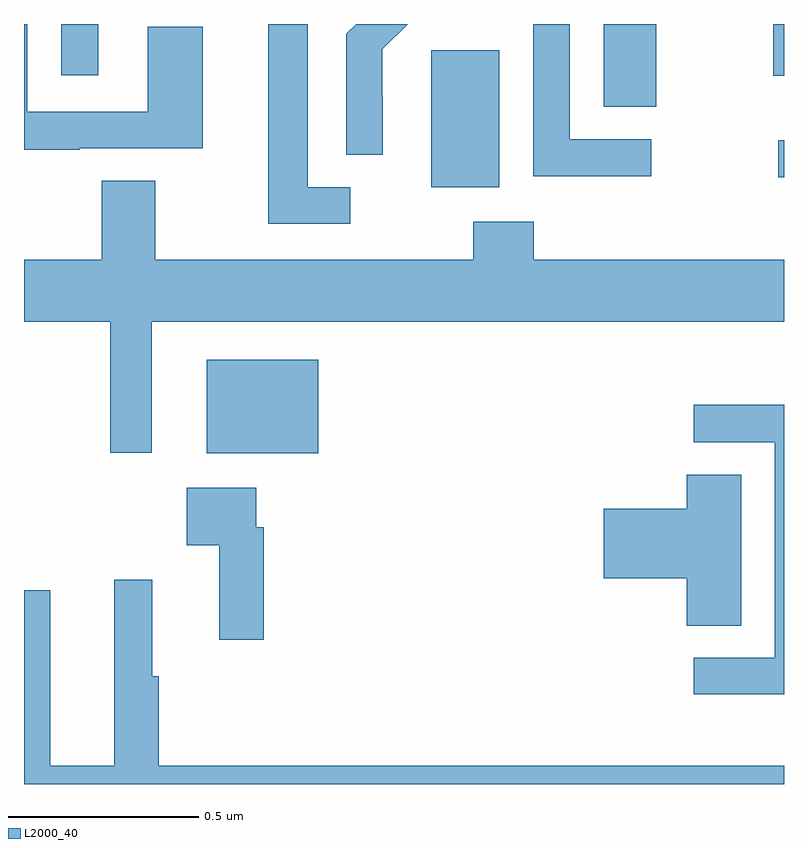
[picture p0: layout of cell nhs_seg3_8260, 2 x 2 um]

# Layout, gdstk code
import gdstk
lib = gdstk.Library(unit=1e-6, precision=1e-09)
def R(c, l, rs):  # rectangles x0, y0, x1, y1
    for r in rs: c.add(gdstk.rectangle(r[:2], r[2:], *l))
def P(c, l, *ps):  # polygons
    for p in ps: c.add(gdstk.Polygon(p, *l))
L2000_40 = (2000, 40)

nhs_seg3_8260 = lib.new_cell('nhs_seg3_8260')
R(nhs_seg3_8260, L2000_40, [(214.481,667.271,214.774,667.516), (215.072,667.97,215.251,668.331), (215.985,667.997,216,668.094), (215.525,668.182,215.664,668.4), (215.972,668.264,216,668.4), (214.098,668.265,214.195,668.4)])
P(nhs_seg3_8260, L2000_40, [(214.858,667.971),(214.747,667.971),(214.747,668.4),(214.643,668.4),(214.643,667.875),(214.858,667.875)],
  [(214.147,668.073),(214.471,668.073),(214.471,668.393),(214.326,668.393),(214.326,668.169),(214.008,668.169),(214.008,668.4),(214,668.4),(214,668.069),(214.147,668.069)],
  [(215.65,668.097),(215.436,668.097),(215.436,668.4),(215.34,668.4),(215.34,667.999),(215.65,667.999)],
  [(214.944,668.21),(214.943,668.21),(214.943,668.333),(215.01,668.4),(214.874,668.4),(214.848,668.374),(214.848,668.056),(214.944,668.056)],
  [(214.336,667.616),(216,667.616),(216,667.78),(215.342,667.78),(215.342,667.879),(215.182,667.879),(215.182,667.78),(214.345,667.78),(214.345,667.988),(214.205,667.988),(214.205,667.78),(214,667.78),(214,667.616),(214.227,667.616),(214.227,667.272),(214.336,667.272)],
  [(216,667.398),(215.763,667.398),(215.763,667.299),(215.976,667.299),(215.976,666.732),(215.763,666.732),(215.763,666.636),(216,666.636)],
  [(215.887,667.214),(215.744,667.214),(215.744,667.124),(215.526,667.124),(215.526,666.941),(215.744,666.941),(215.744,666.817),(215.887,666.817)],
  [(214.631,667.076),(214.611,667.076),(214.611,667.18),(214.428,667.18),(214.428,667.028),(214.514,667.028),(214.514,666.78),(214.631,666.78)],
  [(216,666.448),(214.355,666.448),(214.355,666.684),(214.337,666.684),(214.337,666.937),(214.238,666.937),(214.238,666.448),(214.069,666.448),(214.069,666.91),(214,666.91),(214,666.4),(216,666.4)])

lib.write_gds('nhs_seg3_8260.gds')
